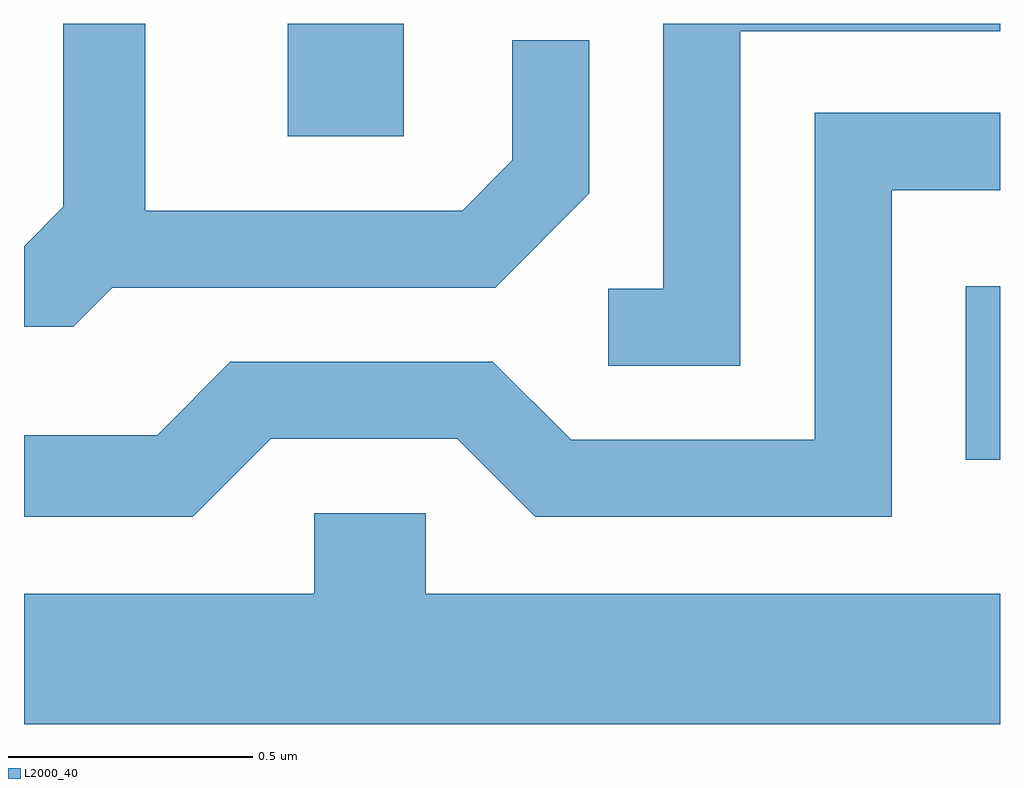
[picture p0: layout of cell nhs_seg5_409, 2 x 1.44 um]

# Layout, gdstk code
import gdstk
lib = gdstk.Library(unit=1e-6, precision=1e-09)
def R(c, l, rs):  # rectangles x0, y0, x1, y1
    for r in rs: c.add(gdstk.rectangle(r[:2], r[2:], *l))
def P(c, l, *ps):  # polygons
    for p in ps: c.add(gdstk.Polygon(p, *l))
L2000_40 = (2000, 40)

nhs_seg5_409 = lib.new_cell('nhs_seg5_409')
R(nhs_seg5_409, L2000_40, [(190.541,1395.178,190.611,1395.534), (189.151,1395.841,189.389,1396.072)])
P(nhs_seg5_409, L2000_40, [(188.792,1395.531),(189.577,1395.531),(189.769,1395.724),(189.769,1396.038),(189.611,1396.038),(189.611,1395.792),(189.509,1395.689),(188.859,1395.689),(188.859,1396.072),(188.691,1396.072),(188.691,1395.697),(188.611,1395.616),(188.611,1395.451),(188.712,1395.451)],
  [(190.079,1396.056),(190.611,1396.056),(190.611,1396.072),(189.921,1396.072),(189.921,1395.529),(189.808,1395.529),(189.808,1395.371),(190.079,1395.371)],
  [(189.117,1395.221),(189.499,1395.221),(189.659,1395.061),(190.389,1395.061),(190.389,1395.731),(190.611,1395.731),(190.611,1395.889),(190.231,1395.889),(190.231,1395.219),(189.732,1395.219),(189.572,1395.379),(189.034,1395.379),(188.884,1395.229),(188.611,1395.229),(188.611,1395.061),(188.957,1395.061)],
  [(190.611,1394.904),(189.434,1394.904),(189.434,1395.069),(189.206,1395.069),(189.206,1394.904),(188.611,1394.904),(188.611,1394.636),(190.611,1394.636)])

lib.write_gds('nhs_seg5_409.gds')
